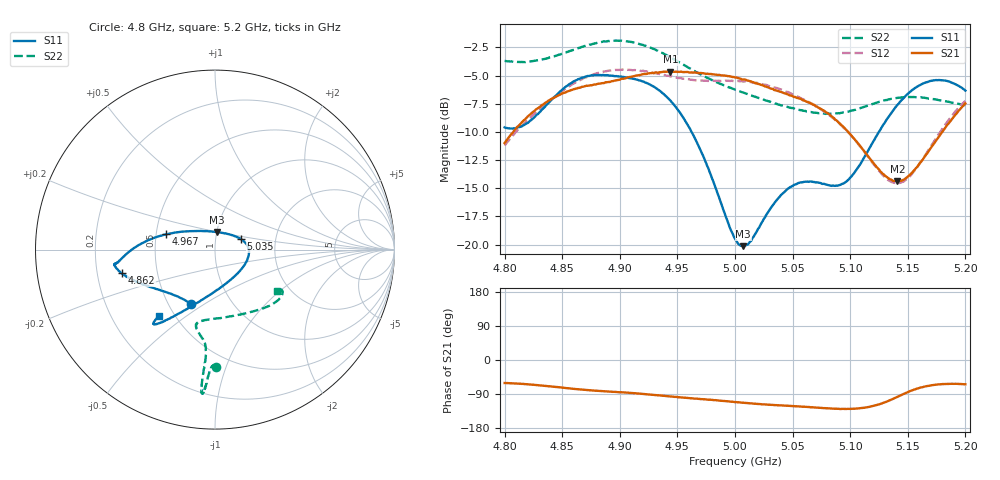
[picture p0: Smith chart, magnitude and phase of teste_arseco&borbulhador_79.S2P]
! Network Analyzer HP8722D
! Hewlett-Packard
! Data name: Linha & Wilkinson
! Saver's name: Rodrigo Anjos
! Comments: Teste da utilização de aquisição
! continua pelo VNA HP8722D
! Time and date: 15/4/2025 16:17
!  Frequency  S11  S21  S12  S22
# HZ  S  MA R 50
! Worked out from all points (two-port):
!   401 points, 4.8 GHz to 5.2 GHz, reference 50 ohm
!   highest |S21| = -4.64 dB at 4.944 GHz (marker M1); lowest = -14.4 dB at 5.141 GHz (marker M2)
!   |S21| within 3 dB of the highest: 4.832 GHz to 5.069 GHz (237.3 MHz wide, 4.79 % of centre); 5.198361 GHz to end of sweep
!   lowest |S11| = -20.1 dB at 5.007 GHz (marker M3), VSWR 1.22, Z = 50.2 + j9.91 ohm
!   |S11| at or under -10 dB: 4.962 GHz to 5.125 GHz (162.6 MHz wide, 3.22 % of centre)
!   |S22| runs from -8.4 to -1.9 dB; largest |S21 - S12| = 0.88
!   S11 on the Smith chart (normalised r, x): 4.8 GHz: 0.65, -0.44; 4.862 GHz: 0.31, -0.11; 4.967 GHz: 0.57, +0.11; 5.035 GHz: 1.32, +0.16; 5.2 GHz: 0.41, -0.40
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4.8e9  0.3313 -113.8  0.2823 -60.7  0.2752 -175.1  0.6537 -89.5
4.819e9  0.345 -133.6  0.3654 -63.8  0.3531 -173.4  0.6481 -91.1
4.862e9  0.536 -165.7  0.4924 -76.7  0.5262 -176.4  0.7402 -93.6
4.867e9  0.55 -167.7  0.5013 -78.3  0.5413 -177.6  0.7543 -93.7
4.9e9  0.557 -172.1  0.5393 -85.0  0.5963 175.8  0.8029 -95.1
4.934e9  0.484 -178.1  0.5808 -93.4  0.5724 171.9  0.7183 -95.6
4.944e9  0.4355 177.4  0.5861 -96.2  0.5569 171.9  0.6778 -95.4
4.967e9  0.284 162.5  0.5788 -102.1  0.5349 173.9  0.5815 -94.9
5e9  0.1062 106.8  0.5516 -111.1  0.5338 176.4  0.4874 -99.3
5.007e9  0.09843 83.2  0.54 -112.6  0.5288 176.3  0.4733 -100.9
5.014e9  0.1037 60.6  0.5299 -114.7  0.5263 176.2  0.4599 -102.5
5.035e9  0.1549 22.7  0.4843 -119.0  0.4969 175.0  0.4225 -103.9
5.05e9  0.1822 6.8  0.4562 -121.6  0.4642 174.3  0.4038 -100.3
5.067e9  0.1903 -11.4  0.4198 -124.6  0.4219 173.9  0.3864 -91.8
5.085e9  0.1829 -40.0  0.3664 -128.5  0.365 173.7  0.3812 -78.5
5.097e9  0.191 -64.9  0.3211 -129.2  0.3206 174.3  0.3885 -68.5
5.134e9  0.3733 -116.1  0.1956 -106.9  0.1918 -159.7  0.4416 -43.4
5.141e9  0.417 -120.1  0.1911 -97.0  0.1874 -148.7  0.4478 -40.2
5.152e9  0.4762 -124.6  0.2045 -82.1  0.2012 -131.3  0.4519 -36.3
5.17e9  0.5328 -128.6  0.2685 -67.0  0.2732 -113.1  0.4444 -32.1
5.184e9  0.5323 -130.0  0.3385 -63.1  0.3488 -107.2  0.4315 -31.1
5.2e9  0.4824 -130.4  0.4231 -64.1  0.4344 -106.2  0.4156 -33.4
